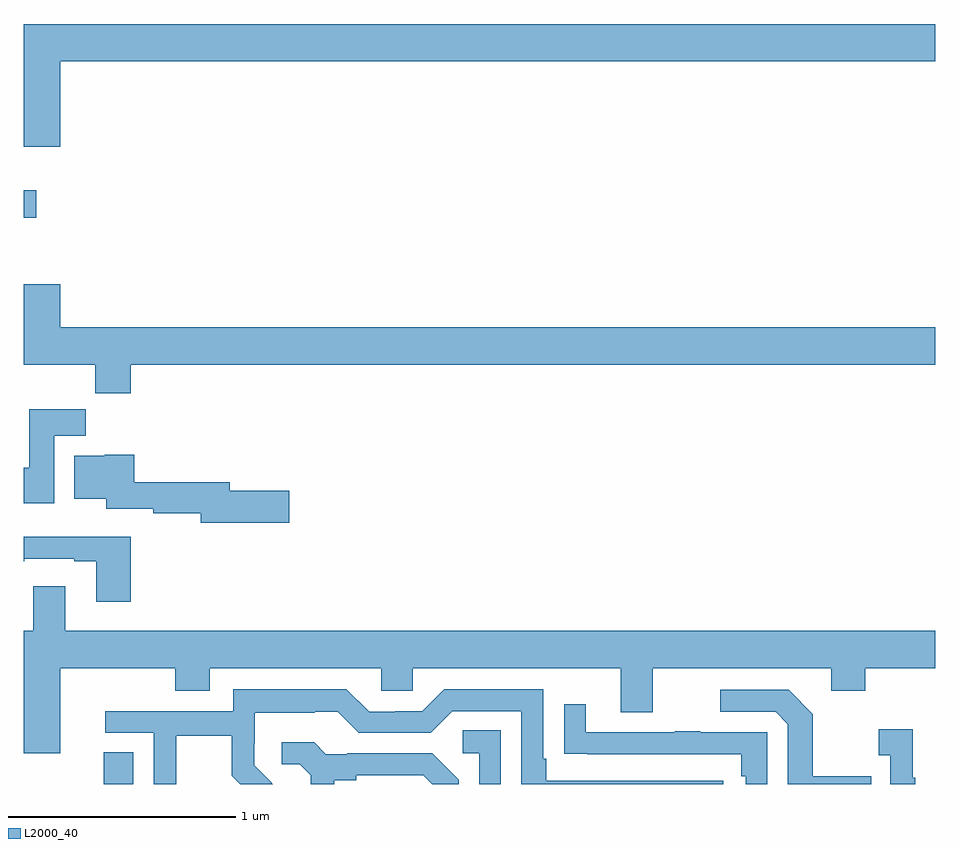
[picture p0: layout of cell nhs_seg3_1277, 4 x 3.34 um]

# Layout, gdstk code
import gdstk
lib = gdstk.Library(unit=1e-6, precision=1e-09)
def R(c, l, rs):  # rectangles x0, y0, x1, y1
    for r in rs: c.add(gdstk.rectangle(r[:2], r[2:], *l))
def P(c, l, *ps):  # polygons
    for p in ps: c.add(gdstk.Polygon(p, *l))
L2000_40 = (2000, 40)

nhs_seg3_1277 = lib.new_cell('nhs_seg3_1277')
R(nhs_seg3_1277, L2000_40, [(177.35,708.4,177.481,708.539), (177,710.885,177.055,711.007)])
P(nhs_seg3_1277, L2000_40, [(177.16,711.572),(181,711.572),(181,711.736),(177,711.736),(177,711.198),(177.16,711.198)],
  [(177.47,710.24),(181,710.24),(181,710.404),(177.16,710.404),(177.16,710.593),(177,710.593),(177,710.24),(177.313,710.24),(177.313,710.116),(177.47,710.116)],
  [(177.133,709.928),(177.272,709.928),(177.272,710.046),(177.023,710.046),(177.023,709.788),(177,709.788),(177,709.632),(177.133,709.632)],
  [(178.165,709.688),(177.904,709.688),(177.904,709.724),(177.485,709.724),(177.485,709.846),(177.354,709.846),(177.354,709.84),(177.221,709.84),(177.221,709.652),(177.362,709.652),(177.362,709.608),(177.568,709.608),(177.568,709.588),(177.776,709.588),(177.776,709.546),(178.165,709.546)],
  [(177.47,709.486),(177,709.486),(177,709.377),(177.001,709.377),(177.001,709.389),(177.221,709.389),(177.221,709.377),(177.317,709.377),(177.317,709.2),(177.47,709.2)],
  [(177.16,708.908),(177.665,708.908),(177.665,708.809),(177.817,708.809),(177.817,708.908),(178.569,708.908),(178.569,708.81),(178.707,708.81),(178.707,708.908),(179.621,708.908),(179.621,708.714),(179.761,708.714),(179.761,708.908),(180.545,708.908),(180.545,708.809),(180.693,708.809),(180.693,708.908),(181,708.908),(181,709.072),(177.181,709.072),(177.181,709.267),(177.041,709.267),(177.041,709.072),(177,709.072),(177,708.534),(177.16,708.534)],
  [(177.669,708.612),(177.913,708.612),(177.913,708.437),(177.95,708.4),(178.092,708.4),(178.085,708.407),(178.086,708.408),(178.012,708.482),(178.012,708.579),(178.014,708.579),(178.014,708.713),(178.277,708.713),(178.277,708.717),(178.377,708.717),(178.47,708.624),(178.785,708.624),(178.881,708.72),(179.184,708.72),(179.184,708.4),(180.07,708.4),(180.07,708.414),(179.293,708.414),(179.293,708.511),(179.28,708.511),(179.28,708.816),(178.845,708.816),(178.749,708.72),(178.631,708.72),(178.631,708.717),(178.515,708.717),(178.415,708.817),(177.918,708.817),(177.918,708.72),(177.357,708.72),(177.357,708.624),(177.57,708.624),(177.57,708.4),(177.669,708.4)],
  [(180.719,708.435),(180.463,708.435),(180.463,708.707),(180.357,708.813),(180.057,708.813),(180.057,708.717),(180.3,708.717),(180.354,708.663),(180.354,708.4),(180.719,708.4)],
  [(180.264,708.627),(179.969,708.627),(179.969,708.632),(179.857,708.632),(179.857,708.627),(179.467,708.627),(179.467,708.751),(179.371,708.751),(179.371,708.532),(179.473,708.532),(179.473,708.531),(180.148,708.531),(180.148,708.434),(180.168,708.434),(180.168,708.4),(180.264,708.4)],
  [(180.913,708.427),(180.901,708.427),(180.901,708.64),(180.753,708.64),(180.753,708.527),(180.804,708.527),(180.804,708.4),(180.913,708.4)],
  [(179.094,708.635),(178.926,708.635),(178.926,708.534),(178.998,708.534),(178.998,708.4),(179.094,708.4)],
  [(178.363,708.416),(178.459,708.416),(178.459,708.438),(178.754,708.438),(178.792,708.4),(178.908,708.4),(178.908,708.418),(178.792,708.534),(178.42,708.534),(178.42,708.531),(178.326,708.531),(178.274,708.583),(178.131,708.583),(178.131,708.486),(178.212,708.486),(178.259,708.439),(178.259,708.4),(178.363,708.4)])

lib.write_gds('nhs_seg3_1277.gds')
